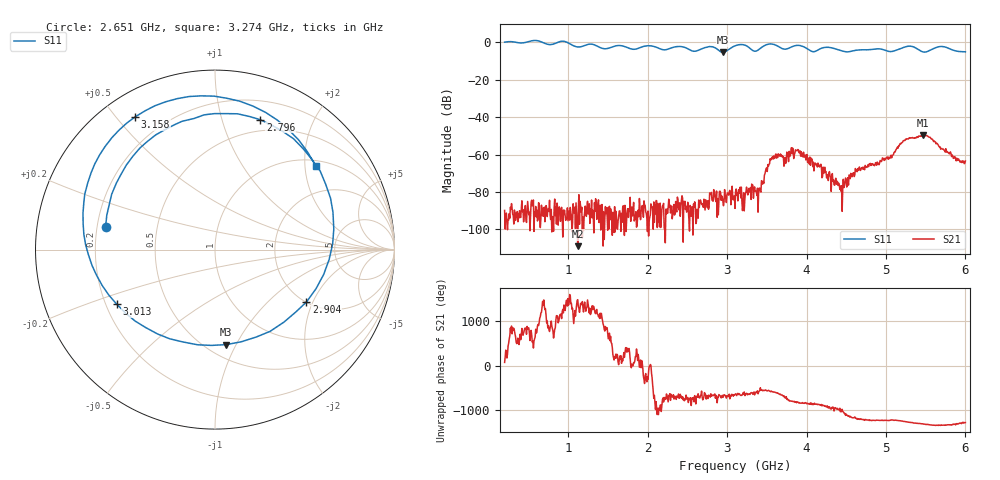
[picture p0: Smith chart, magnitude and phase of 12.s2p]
! NanoVNA-App
! Date: 2024-06-25 16:11:03
! Start: 200MHz Stop: 6GHz Points: 801
! S-Parameter data: F S11 S21 S12 S22
# Hz S RI R 50
!  Frequency  S11_Real  S11_Imag  S21_Real  S21_Imag  S12_Real  S12_Imag  S22_Real  S22_Imag
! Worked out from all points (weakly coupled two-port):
!   801 points, 200 MHz to 6 GHz, reference 50 ohm
!   highest |S21| = -49.80 dB at 5.463 GHz (marker M1); lowest = -109.0 dB at 1.121 GHz (marker M2)
!   lowest |S11| = -5.5 dB at 2.948 GHz (marker M3), VSWR 3.28, Z = 30.9 - j45.7 ohm
!   |S11| at or under -10 dB: nowhere
!   S12 and S22 are empty: the file has one direction only
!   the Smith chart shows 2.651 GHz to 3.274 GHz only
!   S11 on the Smith chart (normalised r, x): 2.651 GHz: 0.23, +0.10; 2.796 GHz: 0.38, +1.34; 2.904 GHz: 2.01, -1.79; 3.013 GHz: 0.24, -0.24; 3.158 GHz: 0.10, +0.56; 3.274 GHz: 1.15, +2.28
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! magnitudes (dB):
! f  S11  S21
! 200 MHz  0.0  -89.9
! 1.121 GHz  -2.5  -109.0
! 1.171 GHz  -2.3  -88.2
! 2.136 GHz  -3.1  -95.9
! 2.651 GHz  -4.1  -88.3
! 2.796 GHz  -2.3  -81.3
! 2.904 GHz  -4.6  -79.7
! 2.948 GHz  -5.5  -85.3
! 3.013 GHz  -4.1  -81.2
! 3.1 GHz  -1.9  -88.8
! 3.158 GHz  -1.3  -80.6
! 3.274 GHz  -2.7  -78.1
! 3.397 GHz  -4.0  -80.3
! 3.586 GHz  -1.1  -60.7
! 3.89 GHz  -1.7  -57.4
! 4.072 GHz  -5.0  -62.5
! 4.449 GHz  -4.7  -90.4
! 4.644 GHz  -4.2  -67.5
! 5.036 GHz  -4.9  -61.4
! 5.239 GHz  -2.5  -52.5
! 5.463 GHz  -5.1  -49.8
! 6 GHz  -5.1  -63.5
